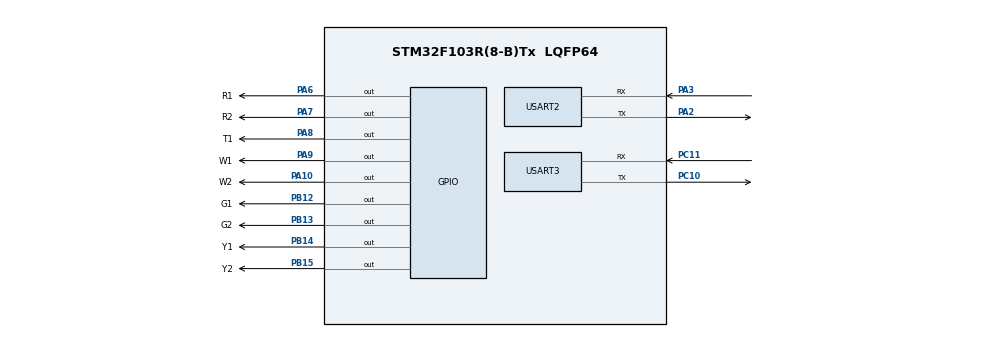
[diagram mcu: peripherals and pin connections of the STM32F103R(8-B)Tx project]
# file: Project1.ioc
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FREERTOS.Queues01=CommandQueue,1,uint16_t,0,Dynamic,NULL,NULL;MessageQueue,1,uint16_t,0,Dynamic,NULL,NULL
FREERTOS.Tasks01=StateController,32,128,StartStateController,Default,NULL,Dynamic,NULL,NULL;CLI,24,128,StartCLI,Default,NULL,Dynamic,NULL,NULL;StatusUpdate,24,128,StartStatusUpdate,Default,NULL,Dynamic,NULL,NULL
Mcu.Family=STM32F1
Mcu.Name=STM32F103R(8-B)Tx
Mcu.Package=LQFP64
NVIC.PriorityGroup=NVIC_PRIORITYGROUP_4
NVIC.TIM4_IRQn=true\:15\:0\:false\:false\:true\:false\:false\:true\:true
NVIC.TimeBase=TIM4_IRQn
NVIC.TimeBaseIP=TIM4
NVIC.USART3_IRQn=true\:5\:0\:false\:false\:true\:true\:true\:true\:true
PA10.GPIO_Label=W2
PA10.Signal=GPIO_Output
PA13.Mode=Serial_Wire
PA13.Signal=SYS_JTMS-SWDIO
PA14.Mode=Serial_Wire
PA14.Signal=SYS_JTCK-SWCLK
PA2.Mode=Asynchronous
PA2.Signal=USART2_TX
PA3.Mode=Asynchronous
PA3.Signal=USART2_RX
PA6.GPIO_Label=R1
PA6.Signal=GPIO_Output
PA7.GPIO_Label=R2
PA7.Signal=GPIO_Output
PA8.GPIO_Label=T1
PA8.Signal=GPIO_Output
PA9.GPIO_Label=W1
PA9.Signal=GPIO_Output
PB12.GPIO_Label=G1
PB12.Signal=GPIO_Output
PB13.GPIO_Label=G2
PB13.Signal=GPIO_Output
PB14.GPIO_Label=Y1
PB14.Signal=GPIO_Output
PB15.GPIO_Label=Y2
PB15.Signal=GPIO_Output
PC10.Mode=Asynchronous
PC10.Signal=USART3_TX
PC11.Mode=Asynchronous
PC11.Signal=USART3_RX
ProjectManager.HeapSize=0x200
ProjectManager.StackSize=0x400
ProjectManager.TargetToolchain=STM32CubeIDE
RCC.APB1Freq_Value=8000000
RCC.APB2Freq_Value=8000000
USART2.VirtualMode=VM_ASYNC
USART3.VirtualMode=VM_ASYNC
VP_FREERTOS_VS_CMSIS_V2.Mode=CMSIS_V2
VP_SYS_VS_tim4.Mode=TIM4
board=custom

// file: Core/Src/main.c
/* USER CODE BEGIN Header */
/**
  ******************************************************************************
  * @file           : main.c
  * @brief          : Main program body
  ******************************************************************************
  * @attention
  *
  * Copyright (c) 2022 STMicroelectronics.
  * All rights reserved.
  *
  * This software is licensed under terms that can be found in the LICENSE file
  * in the root directory of this software component.
  * If no LICENSE file comes with this software, it is provided AS-IS.
  *
  ******************************************************************************
  */
/* USER CODE END Header */
#include "main.h"
#include "cmsis_os.h"

/* USER CODE BEGIN Includes */
#include <stdbool.h>
#include <stdio.h>
#include "string.h"
#include <stdlib.h>
#include "Lights.h"

/* USER CODE END Includes */

/* USER CODE BEGIN PD */
void transmitText(const char*);
/* USER CODE END PD */

 UART_HandleTypeDef huart2;
UART_HandleTypeDef huart3;

/* Definitions for StateController */
osThreadId_t StateControllerHandle;
const osThreadAttr_t StateController_attributes = {
  .name = "StateController",
  .stack_size = 128 * 4,
  .priority = (osPriority_t) osPriorityAboveNormal,
};
/* Definitions for CLI */
osThreadId_t CLIHandle;
const osThreadAttr_t CLI_attributes = {
  .name = "CLI",
  .stack_size = 128 * 4,
  .priority = (osPriority_t) osPriorityNormal,
};
/* Definitions for StatusUpdate */
osThreadId_t StatusUpdateHandle;
const osThreadAttr_t StatusUpdate_attributes = {
  .name = "StatusUpdate",
  .stack_size = 128 * 4,
  .priority = (osPriority_t) osPriorityNormal,
};
/* Definitions for CommandQueue */
osMessageQueueId_t CommandQueueHandle;
const osMessageQueueAttr_t CommandQueue_attributes = {
  .name = "CommandQueue"
};
/* Definitions for MessageQueue */
osMessageQueueId_t MessageQueueHandle;
const osMessageQueueAttr_t MessageQueue_attributes = {
  .name = "MessageQueue"
};
/* USER CODE BEGIN PV */

uint8_t cliBufferRX[10];
uint8_t save[100];

/* USER CODE END PV */

void SystemClock_Config(void);
static void MX_GPIO_Init(void);
static void MX_USART2_UART_Init(void);
static void MX_USART3_UART_Init(void);
void StartStateController(void *argument);
void StartCLI(void *argument);
void StartStatusUpdate(void *argument);

int main(void)
{

  /* MCU Configuration--------------------------------------------------------*/

  /* Reset of all peripherals, Initializes the Flash interface and the Systick. */
  HAL_Init();

  /* Configure the system clock */
  SystemClock_Config();

  /* Initialize all configured peripherals */
  MX_GPIO_Init();
  MX_USART2_UART_Init();
  MX_USART3_UART_Init();
  /* USER CODE BEGIN 2 */

  transmitText("\x1b[2J");//clear screen
  transmitText("\x1b[0;0H");//go to top
  transmitText("TRAFFIC LIGHT CONTROLLER\r\n");
  HAL_Delay(2000);

  //Formats the screen to show counter and create a scroll window
  transmitText("\x1b[2J");//clear screen
  transmitText("\x1b[0;0H");//go to top
  transmitText("Mode: Initialization");
  transmitText("\x1b[9;0H");//go to row 9
  transmitText("Enter \"help\" for a list of commands");
  transmitText("\x1b[10;r");//making a scroll window
  transmitText("\x1b[10;0H");// go to scroll window

  transmitText("\n-> ");
  transmitText("\x1b[?25h");//show cursor
  transmitText("\x1b[s");//save cursor

  /* USER CODE END 2 */

  /* Init scheduler */
  osKernelInitialize();

  /* Create the queue(s) */
  /* creation of CommandQueue */
  CommandQueueHandle = osMessageQueueNew (1, sizeof(uint16_t), &CommandQueue_attributes);

  /* creation of MessageQueue */
  MessageQueueHandle = osMessageQueueNew (1, sizeof(uint16_t), &MessageQueue_attributes);

  /* Create the thread(s) */
  /* creation of StateController */
  StateControllerHandle = osThreadNew(StartStateController, NULL, &StateController_attributes);

  /* creation of CLI */
  CLIHandle = osThreadNew(StartCLI, NULL, &CLI_attributes);

  /* creation of StatusUpdate */
  StatusUpdateHandle = osThreadNew(StartStatusUpdate, NULL, &StatusUpdate_attributes);

  /* Start scheduler */
  osKernelStart();

  /* We should never get here as control is now taken by the scheduler */
  /* Infinite loop */
  while (1)
  {

  }
}

void SystemClock_Config(void)
{
  RCC_OscInitTypeDef RCC_OscInitStruct = {0};
  RCC_ClkInitTypeDef RCC_ClkInitStruct = {0};

  /** Initializes the RCC Oscillators according to the specified parameters
  * in the RCC_OscInitTypeDef structure.
  */
  RCC_OscInitStruct.OscillatorType = RCC_OSCILLATORTYPE_HSI;
  RCC_OscInitStruct.HSIState = RCC_HSI_ON;
  RCC_OscInitStruct.HSICalibrationValue = RCC_HSICALIBRATION_DEFAULT;
  RCC_OscInitStruct.PLL.PLLState = RCC_PLL_NONE;
  if (HAL_RCC_OscConfig(&RCC_OscInitStruct) != HAL_OK)
  {
    Error_Handler();
  }

  /** Initializes the CPU, AHB and APB buses clocks
  */
  RCC_ClkInitStruct.ClockType = RCC_CLOCKTYPE_HCLK|RCC_CLOCKTYPE_SYSCLK
                              |RCC_CLOCKTYPE_PCLK1|RCC_CLOCKTYPE_PCLK2;
  RCC_ClkInitStruct.SYSCLKSource = RCC_SYSCLKSOURCE_HSI;
  RCC_ClkInitStruct.AHBCLKDivider = RCC_SYSCLK_DIV1;
  RCC_ClkInitStruct.APB1CLKDivider = RCC_HCLK_DIV1;
  RCC_ClkInitStruct.APB2CLKDivider = RCC_HCLK_DIV1;

  if (HAL_RCC_ClockConfig(&RCC_ClkInitStruct, FLASH_LATENCY_0) != HAL_OK)
  {
    Error_Handler();
  }
}

static void MX_USART2_UART_Init(void)
{

  huart2.Instance = USART2;
  huart2.Init.BaudRate = 115200;
  huart2.Init.WordLength = UART_WORDLENGTH_8B;
  huart2.Init.StopBits = UART_STOPBITS_1;
  huart2.Init.Parity = UART_PARITY_NONE;
  huart2.Init.Mode = UART_MODE_TX_RX;
  huart2.Init.HwFlowCtl = UART_HWCONTROL_NONE;
  huart2.Init.OverSampling = UART_OVERSAMPLING_16;
  if (HAL_UART_Init(&huart2) != HAL_OK)
  {
    Error_Handler();
  }

}

static void MX_USART3_UART_Init(void)
{

  huart3.Instance = USART3;
  huart3.Init.BaudRate = 115200;
  huart3.Init.WordLength = UART_WORDLENGTH_8B;
  huart3.Init.StopBits = UART_STOPBITS_1;
  huart3.Init.Parity = UART_PARITY_NONE;
  huart3.Init.Mode = UART_MODE_TX_RX;
  huart3.Init.HwFlowCtl = UART_HWCONTROL_NONE;
  huart3.Init.OverSampling = UART_OVERSAMPLING_16;
  if (HAL_UART_Init(&huart3) != HAL_OK)
  {
    Error_Handler();
  }

}

static void MX_GPIO_Init(void)
{
  GPIO_InitTypeDef GPIO_InitStruct = {0};

  /* GPIO Ports Clock Enable */
  __HAL_RCC_GPIOA_CLK_ENABLE();
  __HAL_RCC_GPIOB_CLK_ENABLE();
  __HAL_RCC_GPIOC_CLK_ENABLE();

  /*Configure GPIO pin Output Level */
  HAL_GPIO_WritePin(GPIOA, R1_Pin|R2_Pin|T1_Pin|W1_Pin
                          |W2_Pin, GPIO_PIN_RESET);

  /*Configure GPIO pin Output Level */
  HAL_GPIO_WritePin(GPIOB, G1_Pin|G2_Pin|Y1_Pin|Y2_Pin, GPIO_PIN_RESET);

  /*Configure GPIO pins : R1_Pin R2_Pin T1_Pin W1_Pin
                           W2_Pin */
  GPIO_InitStruct.Pin = R1_Pin|R2_Pin|T1_Pin|W1_Pin
                          |W2_Pin;
  GPIO_InitStruct.Mode = GPIO_MODE_OUTPUT_PP;
  GPIO_InitStruct.Pull = GPIO_NOPULL;
  GPIO_InitStruct.Speed = GPIO_SPEED_FREQ_LOW;
  HAL_GPIO_Init(GPIOA, &GPIO_InitStruct);

  /*Configure GPIO pins : G1_Pin G2_Pin Y1_Pin Y2_Pin */
  GPIO_InitStruct.Pin = G1_Pin|G2_Pin|Y1_Pin|Y2_Pin;
  GPIO_InitStruct.Mode = GPIO_MODE_OUTPUT_PP;
  GPIO_InitStruct.Pull = GPIO_NOPULL;
  GPIO_InitStruct.Speed = GPIO_SPEED_FREQ_LOW;
  HAL_GPIO_Init(GPIOB, &GPIO_InitStruct);

}

/* USER CODE BEGIN 4 */
void transmitText(const char* str){

		uint8_t cliBufferTX[100];

		strcpy((char *)cliBufferTX, (char *) str);
		HAL_UART_Transmit(&huart2, cliBufferTX, strlen((char *)cliBufferTX), 1000);
}
/* USER CODE END 4 */

void StartStateController(void *argument)
{
  /* USER CODE BEGIN 5 */
  /* Infinite loop */
		char state = 'z';
		uint16_t cmd = 111;
		uint16_t msg = cmd;
		int period = 500;
		int acceleration = 1;
		/* Infinite loop */
		for(;;)
		{

			if(osMessageQueueGet(CommandQueueHandle, &cmd, NULL, 0U) == osOK)
			{
				if(cmd != msg && cmd > 100)
				{
					if(cmd == 101)//Failsafe mode
					{
						state = 'x';
						acceleration = 1;
					}
					else if(cmd == 102)//static cycle mode
					{
						state = 'a';
						acceleration = 1;
					}
					else if(cmd == 105)//Low Volume Mode: Runs twice as fast so nobody is waiting long
					{
						acceleration = 2;
						state = 'a';

					}
					else if(cmd == 106)//Fixed Cycle Mode
					{
						state = 'a';
						acceleration = 1;

					}
					else if(cmd == 107)//pri ped
					{
						state = 'm';

					}
					else if(cmd == 108)//sec ped
					{
						state = 'n';

					}
					else if(cmd == 109)//pri erv
					{
						state = 'o';

					}
					else if(cmd == 110)//sec erv
					{
						state = 'p';

					}
					msg = cmd;
				}
				else if(cmd != msg && cmd > 0)
				{
					acceleration = cmd;
				}
			}

			if(osMessageQueuePut(MessageQueueHandle, &msg, 1U, 0U)!= osOK)
			{
				Error_Handler();
			}

			period = periodSet(state, acceleration);
			state = lightSet(state);

			osDelay(period);
		}
		osThreadTerminate(NULL);
  /* USER CODE END 5 */
}

void StartCLI(void *argument)
{
  /* USER CODE BEGIN StartCLI */

	int x = 0;
	uint16_t cmd = 0;
	char* cmdStr;
	char* arg;
	uint8_t get[100];

  /* Infinite loop */
  for(;;)
  {
	  if(HAL_UART_Receive(&huart2, cliBufferRX, 1, 300) == HAL_OK)
	  		{
	  			transmitText("\x1b[u");//return cursor
	  			transmitText("\x1b[?25h");//show cursor

	  			if(cliBufferRX[0] == '\b')
	  			{
	  				transmitText("\b \b");

	  			}
	  			else
	  			{
	  				save[x] = cliBufferRX[0];
	  				transmitText(cliBufferRX);

	  			}

	  			transmitText("\x1b[s");//save cursor

	  			//backspace
	  			if(cliBufferRX[0] == '\b')
	  			{
	  				x--;
	  			}
	  			else
	  			{
	  				x++;
	  			}

	  			if(cliBufferRX[0] == '\r')//when user hits enter
	  			{
	  				transmitText("\r\n");
	  				save[x-1] = '\0';
	  				while(x < 100 && save[x] != '\0')//nulling out the rest of the buffer
	  				{
	  					save[x] = '\0';
	  					x++;
	  				}

	  				strcpy((char *)get, (const char *)save);//getting command
	  				arg = strtok((char *)save, " ");
	  				cmdStr = arg;
	  				arg = strtok(NULL, " ");

	  				if(arg == NULL && strcmp((char *)cmdStr, "help") == 0)
	  				{
	  					cmd = 103;
	  					transmitText("1. \"mode fsm\" switches controller to Failsafe mode\r\n");
	  					transmitText("\n2. \"mode scm\" switches controller to Static Cycle mode\r\n");
	  					transmitText("\n3. \"atm x\" enters accelerated test mode with multiplication factor x, when 0 < x < 101\r\n");
	  					transmitText("\n4. \"mode lvm\" switches controller to Low Volume Mode, which means no turning light\r\n");
	  					transmitText("\n5. \"mode fcm\" switched controller to Fixed Cycle Mode, and can now accept pedestrian and ERV inputs\r\n");
	  					transmitText("\n6. \"clear\" clears the scroll screen of its command history and brings the cursor back to the top\r\n");
	  					transmitText("FSM Commands:\r\n");
	  					transmitText(" - event pp: Primary Pedestrian\r\n");
	  					transmitText(" - event sp: Secondary Pedestrian\r\n");
	  					transmitText(" - event pev: Primary Emergency Vehicle\r\n");
	  					transmitText(" - event sev: Secondary Emergency Vehicle\r\n");
	  				}
	  				else if(arg == NULL && strcmp((char *)cmdStr, "clear") == 0)
	  				{
	  					cmd = 104;
	  					transmitText("\x1b[2J");//clear screen
	  					transmitText("\x1b[0;0H");//go to top
	  					transmitText("Mode: ");
	  					transmitText("\x1b[9;0H");//go to row 9
	  					transmitText("Enter \"help\" for a list of commands");
	  					transmitText("\x1b[10;r");//make a scroll window
	  					transmitText("\x1b[10;0H");//go to the scroll window
	  					transmitText("\x1b[?25h");//show cursor
	  					if(osMessageQueuePut(CommandQueueHandle, &cmd, 1U, 0U)!= osOK)
	  					{
	  						Error_Handler();
	  					}
	  				}
	  				else if(cmdStr == NULL)
	  				{
	  					cmd = 103;
	  				}
	  				else if(strtok(NULL, " ") == NULL)
	  				{
	  					if(atoi(arg) >= 1 && atoi(arg) <= 100 && strcmp((char *)cmdStr, "atm") == 0)
	  					{
	  						cmd = (uint16_t)atoi(arg);
	  						transmitText("Entering accelerated test mode.\r\n");
	  						if(osMessageQueuePut(CommandQueueHandle, &cmd, 1U, 0U)!= osOK)
	  						{
	  							Error_Handler();
	  						}
	  					}
	  					else if(strcmp((char *)cmdStr, "mode") == 0 && strcmp((char *)arg, "fsm") == 0)
	  					{
	  						cmd = 101;
	  						transmitText("Switching to Failsafe mode.\r\n");
	  						if(osMessageQueuePut(CommandQueueHandle, &cmd, 1U, 0U)!= osOK)
	  						{
	  							Error_Handler();
	  						}
	  					}
	  					else if(strcmp((char *)cmdStr, "mode") == 0 && strcmp((char *)arg, "scm") == 0)
	  					{
	  						cmd = 102;
	  						transmitText("Switching to Static Cycle mode.\r\n");
	  						if(osMessageQueuePut(CommandQueueHandle, &cmd, 1U, 0U)!= osOK)
	  						{
	  							Error_Handler();
	  						}
	  					}
	  					else if(strcmp((char *)cmdStr, "mode") == 0 && strcmp((char *)arg, "lvm") == 0)
	  					{
	  						cmd = 105;
	  						transmitText("Switching to Low Volume mode.\r\n");
	  						if(osMessageQueuePut(CommandQueueHandle, &cmd, 1U, 0U)!= osOK)
	  						{
	  							Error_Handler();
	  						}
	  					}
	  					else if(strcmp((char *)cmdStr, "mode") == 0 && strcmp((char *)arg, "fcm") == 0)
	  					{
	  						cmd = 106;
	  						transmitText("Switching to Fixed Cycle mode.\r\n");
	  						if(osMessageQueuePut(CommandQueueHandle, &cmd, 1U, 0U)!= osOK)
	  						{
	  							Error_Handler();
	  						}
	  					}
		  				//FCM Commands, can only run in fixed cycle mode
		  				else if(strcmp((char *)cmdStr, "event") == 0 && strcmp((char *)arg, "pp") == 0 && cmd >= 106)//Pri ped
		  				{
	  						cmd = 107;
	  						transmitText("Primary Pedestrian input received\r\n");
	  						if(osMessageQueuePut(CommandQueueHandle, &cmd, 1U, 0U)!= osOK)
	  						{
	  							Error_Handler();
	  						}
		  				}
		  				else if(strcmp((char *)cmdStr, "event") == 0 && strcmp((char *)arg, "sp") == 0 && cmd >= 106)//sec ped
		  				{
	  						cmd = 108;
	  						transmitText("Secondary Pedestrian input received\r\n");
	  						if(osMessageQueuePut(CommandQueueHandle, &cmd, 1U, 0U)!= osOK)
	  						{
	  							Error_Handler();
	  						}
		  				}
		  				else if(strcmp((char *)cmdStr, "event") == 0 && strcmp((char *)arg, "pev") == 0 && cmd >= 106)//pri erv
		  				{
	  						cmd = 109;
	  						transmitText("Primary ERV input received\r\n");
	  						if(osMessageQueuePut(CommandQueueHandle, &cmd, 1U, 0U)!= osOK)
	  						{
	  							Error_Handler();
	  						}		  				}
		  				else if(strcmp((char *)cmdStr, "event") == 0 && strcmp((char *)arg, "sev") == 0 && cmd >= 106)//sec erv
		  				{
	  						cmd = 110;
	  						transmitText("Secondary ERV input received\r\n");
	  						if(osMessageQueuePut(CommandQueueHandle, &cmd, 1U, 0U)!= osOK)
	  						{
	  							Error_Handler();
	  						}
		  				}

	  					else
	  					{
	  						cmd = 103;
	  						transmitText("Invalid command: ");
	  						transmitText((char *)get);
	  						transmitText("\r\n");
	  					}

	  				}

	  				else
	  				{
	  					cmd = 103;
	  					transmitText("Invalid command: ");
	  					transmitText((char *)get);
	  					transmitText("\r\n");
	  				}

	  				x = 0;
	  				for(int i = 0; i < 20; i++)
	  				{
	  					save[i] = '\0';
	  				}
	  				transmitText("\r\n-> ");

	  				transmitText("\x1b[s");//save cursor
	  				osDelay(10);
	  			}
	  		}
	  }
	  osThreadTerminate(NULL);
  /* USER CODE END StartCLI */
}

void StartStatusUpdate(void *argument)
{
  /* USER CODE BEGIN StartStatusUpdate */
  /* Infinite loop */
  for(;;)
  {
	  uint16_t msg = 111;
	  	uint16_t mode = msg;
	    /* Infinite loop */
	  		if(osMessageQueueGet(MessageQueueHandle, &msg, NULL, 0U) == osOK)
	  		{
	  			if(msg != mode)
	  			{
	  				if(msg == 104)
	  				{
	  					msg = mode;
	  				}

	  				transmitText("\x1b[s");//save cursor
	  				transmitText("\x1b[?25l");//hide cursor
	  				transmitText("\x1b[0;7H");//go to mode
	  				transmitText("                           ");
	  				transmitText("\x1b[0;7H");// go to mode
	  				if(msg == 102)
	  				{
	  					transmitText("Static Cycle mode");
	  				}
	  				else if(msg == 105){
	  					transmitText("Low Volume mode");
	  				}
	  				else if(msg >= 106 && msg < 111){
	  					transmitText("Fixed Cycle mode");
	  				}
	  				else if (msg == 101)
	  				{
	  					transmitText("Failsafe mode");
	  				}
	  				mode = msg;

	  				transmitText("\x1b[u");//return cursor
	  				transmitText("\x1b[?25h");//show cursor
	  			}

	  		}

	  		osDelay(10);
	  	}
	  	osThreadTerminate(NULL);
  /* USER CODE END StartStatusUpdate */
}

void HAL_TIM_PeriodElapsedCallback(TIM_HandleTypeDef *htim)
{
  if (htim->Instance == TIM4) {
    HAL_IncTick();
  }
}

void Error_Handler(void)
{
  __disable_irq();
  while (1)
  {
  }
}
